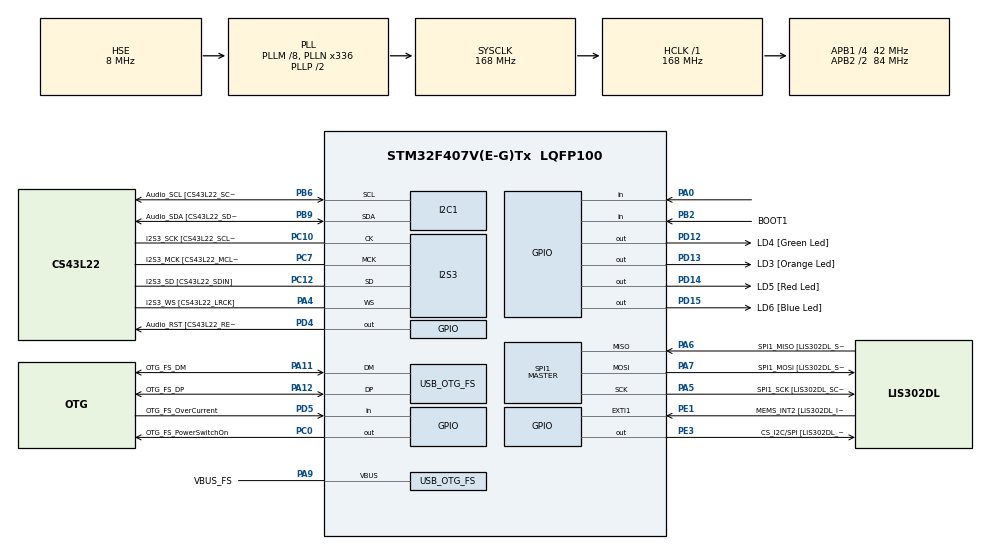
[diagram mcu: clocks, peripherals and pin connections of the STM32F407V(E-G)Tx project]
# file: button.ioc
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I2S3.AudioFreq-Half_Duplex_Master=I2S_AUDIOFREQ_96K
I2S3.ErrorAudioFreq=-2.34 %
I2S3.ErrorAudioFreq-Half_Duplex_Master=0.8 %
I2S3.FullDuplexMode=I2S_FULLDUPLEXMODE_DISABLE
I2S3.Instance=SPI$Index
I2S3.RealAudioFreq=93.75 KHz
I2S3.RealAudioFreq-Half_Duplex_Master=96.774 KHz
I2S3.VirtualMode=I2S_MODE_MASTER
Mcu.Family=STM32F4
Mcu.Name=STM32F407V(E-G)Tx
Mcu.Package=LQFP100
NVIC.OTG_FS_IRQn=true\:0\:0\:false\:false\:true\:true\:true\:true
NVIC.PriorityGroup=NVIC_PRIORITYGROUP_0
PA0-WKUP.Signal=GPIO_Input
PA10.GPIO_Label=OTG_FS_ID
PA10.GPIO_Mode=GPIO_MODE_AF_PP
PA10.GPIO_PuPd=GPIO_NOPULL
PA10.GPIO_Speed=GPIO_SPEED_FREQ_LOW
PA10.Signal=USB_OTG_FS_ID
PA11.GPIO_Label=OTG_FS_DM
PA11.GPIO_Mode=GPIO_MODE_AF_PP
PA11.GPIO_PuPd=GPIO_NOPULL
PA11.GPIO_Speed=GPIO_SPEED_FREQ_LOW
PA11.Mode=Host_Only
PA11.Signal=USB_OTG_FS_DM
PA12.GPIO_Label=OTG_FS_DP
PA12.GPIO_Mode=GPIO_MODE_AF_PP
PA12.GPIO_PuPd=GPIO_NOPULL
PA12.GPIO_Speed=GPIO_SPEED_FREQ_LOW
PA12.Mode=Host_Only
PA12.Signal=USB_OTG_FS_DP
PA13.GPIO_Label=SWDIO
PA13.Mode=Serial_Wire
PA13.Signal=SYS_JTMS-SWDIO
PA14.GPIO_Label=SWCLK
PA14.Mode=Serial_Wire
PA14.Signal=SYS_JTCK-SWCLK
PA4.GPIO_Label=I2S3_WS [CS43L22_LRCK]
PA4.GPIO_Mode=GPIO_MODE_AF_PP
PA4.GPIO_PuPd=GPIO_NOPULL
PA4.GPIO_Speed=GPIO_SPEED_FREQ_LOW
PA4.Mode=Half_Duplex_Master
PA4.Signal=I2S3_WS
PA5.GPIO_Label=SPI1_SCK [LIS302DL_SCL/SPC]
PA5.GPIO_Mode=GPIO_MODE_AF_PP
PA5.GPIO_PuPd=GPIO_NOPULL
PA5.GPIO_Speed=GPIO_SPEED_FREQ_LOW
PA5.Mode=Full_Duplex_Master
PA5.Signal=SPI1_SCK
PA6.GPIO_Label=SPI1_MISO [LIS302DL_SDO]
PA6.GPIO_Mode=GPIO_MODE_AF_PP
PA6.GPIO_PuPd=GPIO_NOPULL
PA6.GPIO_Speed=GPIO_SPEED_FREQ_LOW
PA6.Mode=Full_Duplex_Master
PA6.Signal=SPI1_MISO
PA7.GPIO_Label=SPI1_MOSI [LIS302DL_SDA/SDI/SDO]
PA7.GPIO_Mode=GPIO_MODE_AF_PP
PA7.GPIO_PuPd=GPIO_NOPULL
PA7.GPIO_Speed=GPIO_SPEED_FREQ_LOW
PA7.Mode=Full_Duplex_Master
PA7.Signal=SPI1_MOSI
PA9.GPIO_Label=VBUS_FS
PA9.GPIO_Mode=GPIO_MODE_INPUT
PA9.GPIO_PuPd=GPIO_NOPULL
PA9.Mode=Activate_VBUS
PA9.Signal=USB_OTG_FS_VBUS
PB10.GPIO_Label=CLK_IN [MP45DT02_CLK]
PB10.GPIO_Mode=GPIO_MODE_AF_PP
PB10.GPIO_PuPd=GPIO_NOPULL
PB10.GPIO_Speed=GPIO_SPEED_FREQ_LOW
PB10.Signal=I2S2_CK
PB2.GPIO_Label=BOOT1
PB2.GPIO_Mode=GPIO_MODE_INPUT
PB2.GPIO_PuPd=GPIO_NOPULL
PB2.Signal=GPIO_Input
PB3.GPIO_Label=SWO
PB3.Signal=SYS_JTDO-SWO
PB6.GPIO_Label=Audio_SCL [CS43L22_SCL]
PB6.GPIO_Mode=GPIO_MODE_AF_OD
PB6.GPIO_Pu=GPIO_PULLUP
PB6.GPIO_PuPd=GPIO_NOPULL
PB6.GPIO_Speed=GPIO_SPEED_FREQ_LOW
PB6.Mode=I2C
PB6.Signal=I2C1_SCL
PB9.GPIO_Label=Audio_SDA [CS43L22_SDA]
PB9.GPIO_Mode=GPIO_MODE_AF_OD
PB9.GPIO_Pu=GPIO_PULLUP
PB9.GPIO_PuPd=GPIO_NOPULL
PB9.GPIO_Speed=GPIO_SPEED_FREQ_LOW
PB9.Mode=I2C
PB9.Signal=I2C1_SDA
PC0.GPIO_Label=OTG_FS_PowerSwitchOn
PC0.GPIO_PuPd=GPIO_NOPULL
PC0.GPIO_Speed=GPIO_SPEED_FREQ_LOW
PC0.PinState=GPIO_PIN_SET
PC0.Signal=GPIO_Output
PC10.GPIO_Label=I2S3_SCK [CS43L22_SCLK]
PC10.GPIO_Mode=GPIO_MODE_AF_PP
PC10.GPIO_PuPd=GPIO_NOPULL
PC10.GPIO_Speed=GPIO_SPEED_FREQ_LOW
PC10.Mode=Half_Duplex_Master
PC10.Signal=I2S3_CK
PC12.GPIO_Label=I2S3_SD [CS43L22_SDIN]
PC12.GPIO_Mode=GPIO_MODE_AF_PP
PC12.GPIO_PuPd=GPIO_NOPULL
PC12.GPIO_Speed=GPIO_SPEED_FREQ_LOW
PC12.Mode=Half_Duplex_Master
PC12.Signal=I2S3_SD
PC14-OSC32_IN.GPIO_Label=PC14-OSC32_IN
PC14-OSC32_IN.Mode=LSE-External-Oscillator
PC14-OSC32_IN.Signal=RCC_OSC32_IN
PC15-OSC32_OUT.GPIO_Label=PC15-OSC32_OUT
PC15-OSC32_OUT.Mode=LSE-External-Oscillator
PC15-OSC32_OUT.Signal=RCC_OSC32_OUT
PC3.GPIO_Label=PDM_OUT [MP45DT02_DOUT]
PC3.GPIO_Mode=GPIO_MODE_AF_PP
PC3.GPIO_PuPd=GPIO_NOPULL
PC3.GPIO_Speed=GPIO_SPEED_FREQ_LOW
PC3.Signal=I2S2_SD
PC7.GPIO_Label=I2S3_MCK [CS43L22_MCLK]
PC7.GPIO_Mode=GPIO_MODE_AF_PP
PC7.GPIO_PuPd=GPIO_NOPULL
PC7.GPIO_Speed=GPIO_SPEED_FREQ_LOW
PC7.Mode=Master_Clock_Activated
PC7.Signal=I2S3_MCK
PD12.GPIO_Label=LD4 [Green Led]
PD12.GPIO_PuPd=GPIO_NOPULL
PD12.GPIO_Speed=GPIO_SPEED_FREQ_LOW
PD12.Signal=GPIO_Output
PD13.GPIO_Label=LD3 [Orange Led]
PD13.GPIO_PuPd=GPIO_NOPULL
PD13.GPIO_Speed=GPIO_SPEED_FREQ_LOW
PD13.Signal=GPIO_Output
PD14.GPIO_Label=LD5 [Red Led]
PD14.GPIO_PuPd=GPIO_NOPULL
PD14.GPIO_Speed=GPIO_SPEED_FREQ_LOW
PD14.Signal=GPIO_Output
PD15.GPIO_Label=LD6 [Blue Led]
PD15.GPIO_PuPd=GPIO_NOPULL
PD15.GPIO_Speed=GPIO_SPEED_FREQ_LOW
PD15.Signal=GPIO_Output
PD4.GPIO_Label=Audio_RST [CS43L22_RESET]
PD4.GPIO_PuPd=GPIO_NOPULL
PD4.GPIO_Speed=GPIO_SPEED_FREQ_LOW
PD4.Signal=GPIO_Output
PD5.GPIO_Label=OTG_FS_OverCurrent
PD5.GPIO_Mode=GPIO_MODE_INPUT
PD5.GPIO_PuPd=GPIO_NOPULL
PD5.Signal=GPIO_Input
PE1.GPIO_Label=MEMS_INT2 [LIS302DL_INT2]
PE1.GPIO_ModeDefaultEXTI=GPIO_MODE_EVT_RISING
PE1.GPIO_PuPd=GPIO_NOPULL
PE1.Signal=GPXTI1
PE3.GPIO_Label=CS_I2C/SPI [LIS302DL_CS_I2C/SPI]
PE3.GPIO_PuPd=GPIO_NOPULL
PE3.GPIO_Speed=GPIO_SPEED_FREQ_LOW
PE3.Signal=GPIO_Output
PH0-OSC_IN.GPIO_Label=PH0-OSC_IN
PH0-OSC_IN.Mode=HSE-External-Oscillator
PH0-OSC_IN.Signal=RCC_OSC_IN
PH1-OSC_OUT.GPIO_Label=PH1-OSC_OUT
PH1-OSC_OUT.Mode=HSE-External-Oscillator
PH1-OSC_OUT.Signal=RCC_OSC_OUT
ProjectManager.HeapSize=0x200
ProjectManager.StackSize=0x400
ProjectManager.TargetToolchain=STM32CubeIDE
RCC.48MHZClocksFreq_Value=48000000
RCC.AHBFreq_Value=168000000
RCC.APB1CLKDivider=RCC_HCLK_DIV4
RCC.APB1Freq_Value=42000000
RCC.APB1TimFreq_Value=84000000
RCC.APB2CLKDivider=RCC_HCLK_DIV2
RCC.APB2Freq_Value=84000000
RCC.APB2TimFreq_Value=168000000
RCC.CortexFreq_Value=168000000
RCC.HCLKFreq_Value=168000000
RCC.HSE_VALUE=8000000
RCC.HSI_VALUE=16000000
RCC.PLLM=8
RCC.PLLN=336
RCC.PLLQ=7
RCC.SYSCLKFreq_VALUE=168000000
RCC.SYSCLKSource=RCC_SYSCLKSOURCE_PLLCLK
RCC.VCOOutputFreq_Value=336000000
SPI1.BaudRatePrescaler-Full_Duplex_Master=SPI_BAUDRATEPRESCALER_2
SPI1.CalculateBaudRate-Full_Duplex_Master=42.0 MBits/s
SPI1.Direction=SPI_DIRECTION_2LINES
SPI1.Mode=SPI_MODE_MASTER
SPI1.Mode-Full_Duplex_Master=SPI_MODE_MASTER
SPI1.VirtualType=VM_MASTER
USB_HOST.BSP.number=1
USB_HOST.USBH_HandleTypeDef-CDC_FS=hUsbHostFS
USB_HOST.VirtualModeFS=Cdc
USB_HOST0.BSP.STBoard=false
USB_HOST0.BSP.api=Unknown
USB_HOST0.BSP.instance=PC0
USB_HOST0.BSP.ip=GPIO
USB_HOST0.BSP.mode=Output
USB_HOST0.BSP.name=Drive_VBUS_FS
USB_HOST0.BSP.solution=PC0
USB_OTG_FS.VirtualMode=Host_Only
USB_OTG_FS.phy_itface=HCD_PHY_EMBEDDED
VP_USB_HOST_VS_USB_HOST_CDC_FS.Mode=CDC_FS
board=STM32F407G-DISC1

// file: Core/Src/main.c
/* USER CODE BEGIN Header */
/**
  ******************************************************************************
  * @file           : main.c
  * @brief          : Main program body
  ******************************************************************************
  * @attention
  *
  * Copyright (c) 2025 STMicroelectronics.
  * All rights reserved.
  *
  * This software is licensed under terms that can be found in the LICENSE file
  * in the root directory of this software component.
  * If no LICENSE file comes with this software, it is provided AS-IS.
  *
  ******************************************************************************
  */
/* USER CODE END Header */
#include "main.h"
#include "usb_host.h"

I2C_HandleTypeDef hi2c1;

I2S_HandleTypeDef hi2s3;

SPI_HandleTypeDef hspi1;

void SystemClock_Config(void);
static void MX_GPIO_Init(void);
static void MX_I2C1_Init(void);
static void MX_I2S3_Init(void);
static void MX_SPI1_Init(void);
void MX_USB_HOST_Process(void);

int main(void)
{

  /* MCU Configuration--------------------------------------------------------*/

  /* Reset of all peripherals, Initializes the Flash interface and the Systick. */
  HAL_Init();

  /* Configure the system clock */
  SystemClock_Config();

  /* Initialize all configured peripherals */
  MX_GPIO_Init();
  MX_I2C1_Init();
  MX_I2S3_Init();
  MX_SPI1_Init();
  MX_USB_HOST_Init();

  /* Infinite loop */
	while (1) {
    MX_USB_HOST_Process();

    /* USER CODE BEGIN 3 */
		/*    HAL_GPIO_WritePin(LD4_GPIO_Port, LD4_Pin, 1);*/

		/*HAL_GPIO_TogglePin(LD3_GPIO_Port, LD3_Pin);
		 HAL_Delay(1000);*/

		/*if (HAL_GPIO_ReadPin(GPIOA, GPIO_PIN_0)) {
			HAL_GPIO_WritePin(LD4_GPIO_Port, LD4_Pin, 1);
			HAL_Delay(1000);
		} else {
			HAL_GPIO_WritePin(LD4_GPIO_Port, LD4_Pin, GPIO_PIN_RESET);
		}
*/

    /*if(HAL_GPIO_ReadPin(GPIOA, GPIO_PIN_0) == GPIO_PIN_SET) {
      // Button is pressed - cycle through LEDs
      HAL_GPIO_WritePin(LD3_GPIO_Port, LD3_Pin, GPIO_PIN_SET);
      HAL_Delay(200);
      HAL_GPIO_WritePin(LD3_GPIO_Port, LD3_Pin, GPIO_PIN_RESET);

      HAL_GPIO_WritePin(LD4_GPIO_Port, LD4_Pin, GPIO_PIN_SET);
      HAL_Delay(200);
      HAL_GPIO_WritePin(LD4_GPIO_Port, LD4_Pin, GPIO_PIN_RESET);

      HAL_GPIO_WritePin(LD5_GPIO_Port, LD5_Pin, GPIO_PIN_SET);
      HAL_Delay(200);
      HAL_GPIO_WritePin(LD5_GPIO_Port, LD5_Pin, GPIO_PIN_RESET);

      HAL_GPIO_WritePin(LD6_GPIO_Port, LD6_Pin, GPIO_PIN_SET);
      HAL_Delay(200);
      HAL_GPIO_WritePin(LD6_GPIO_Port, LD6_Pin, GPIO_PIN_RESET);
    } else {
      // Button is not pressed - all LEDs off
      HAL_GPIO_WritePin(LD3_GPIO_Port, LD3_Pin, GPIO_PIN_RESET);
      HAL_GPIO_WritePin(LD4_GPIO_Port, LD4_Pin, GPIO_PIN_RESET);
      HAL_GPIO_WritePin(LD5_GPIO_Port, LD5_Pin, GPIO_PIN_RESET);
      HAL_GPIO_WritePin(LD6_GPIO_Port, LD6_Pin, GPIO_PIN_RESET);
    }*/

    static uint8_t led_state = 0;
      static uint32_t last_button_time = 0;
      static uint8_t button_pressed = 0;
      uint32_t current_time = HAL_GetTick();

      // Button debounce with state detection
      if (HAL_GPIO_ReadPin(GPIOA, GPIO_PIN_0) == GPIO_PIN_SET) {
        if (!button_pressed && (current_time - last_button_time > 200)) {
          button_pressed = 1;
          last_button_time = current_time;

          // Change LED state on button press
          led_state = (led_state + 1) % 5;  // 5 states: off, and 4 LED patterns
        }
      } else {
        button_pressed = 0;
      }

      // Turn off all LEDs first
      HAL_GPIO_WritePin(GPIOD, LD3_Pin | LD4_Pin | LD5_Pin | LD6_Pin, GPIO_PIN_RESET);

      // Different LED patterns based on state
      switch (led_state) {
        case 0: // All LEDs off
          break;

        case 1: // Rotating single LED
          {
            uint8_t pattern = (current_time / 200) % 4;
            if (pattern == 0) HAL_GPIO_WritePin(LD3_GPIO_Port, LD3_Pin, GPIO_PIN_SET);
            else if (pattern == 1) HAL_GPIO_WritePin(LD4_GPIO_Port, LD4_Pin, GPIO_PIN_SET);
            else if (pattern == 2) HAL_GPIO_WritePin(LD5_GPIO_Port, LD5_Pin, GPIO_PIN_SET);
            else HAL_GPIO_WritePin(LD6_GPIO_Port, LD6_Pin, GPIO_PIN_SET);
          }
          break;

        case 2: // Breathing effect (all LEDs)
          {
            uint32_t breathe_val = (current_time % 2000);
            if (breathe_val > 1000) breathe_val = 2000 - breathe_val;

            // Create breathing effect with PWM-like timing
            if ((current_time % 20) < (breathe_val / 50)) {
              HAL_GPIO_WritePin(GPIOD, LD3_Pin | LD4_Pin | LD5_Pin | LD6_Pin, GPIO_PIN_SET);
            }
          }
          break;

        case 3: // Knight Rider/cylon effect
          {
            uint8_t position = (current_time / 100) % 6;
            if (position == 0) HAL_GPIO_WritePin(LD3_GPIO_Port, LD3_Pin, GPIO_PIN_SET);
            else if (position == 1) HAL_GPIO_WritePin(LD4_GPIO_Port, LD4_Pin, GPIO_PIN_SET);
            else if (position == 2) HAL_GPIO_WritePin(LD5_GPIO_Port, LD5_Pin, GPIO_PIN_SET);
            else if (position == 3) HAL_GPIO_WritePin(LD6_GPIO_Port, LD6_Pin, GPIO_PIN_SET);
            else if (position == 4) HAL_GPIO_WritePin(LD5_GPIO_Port, LD5_Pin, GPIO_PIN_SET);
            else if (position == 5) HAL_GPIO_WritePin(LD4_GPIO_Port, LD4_Pin, GPIO_PIN_SET);
          }
          break;

        case 4: // All LEDs flashing
          if ((current_time / 300) % 2) {
            HAL_GPIO_WritePin(GPIOD, LD3_Pin | LD4_Pin | LD5_Pin | LD6_Pin, GPIO_PIN_SET);
          }
          break;
      }
  }
  /* USER CODE END 3 */
}

void SystemClock_Config(void)
{
  RCC_OscInitTypeDef RCC_OscInitStruct = {0};
  RCC_ClkInitTypeDef RCC_ClkInitStruct = {0};

  /** Configure the main internal regulator output voltage
  */
  __HAL_RCC_PWR_CLK_ENABLE();
  __HAL_PWR_VOLTAGESCALING_CONFIG(PWR_REGULATOR_VOLTAGE_SCALE1);

  /** Initializes the RCC Oscillators according to the specified parameters
  * in the RCC_OscInitTypeDef structure.
  */
  RCC_OscInitStruct.OscillatorType = RCC_OSCILLATORTYPE_HSE;
  RCC_OscInitStruct.HSEState = RCC_HSE_ON;
  RCC_OscInitStruct.PLL.PLLState = RCC_PLL_ON;
  RCC_OscInitStruct.PLL.PLLSource = RCC_PLLSOURCE_HSE;
  RCC_OscInitStruct.PLL.PLLM = 8;
  RCC_OscInitStruct.PLL.PLLN = 336;
  RCC_OscInitStruct.PLL.PLLP = RCC_PLLP_DIV2;
  RCC_OscInitStruct.PLL.PLLQ = 7;
  if (HAL_RCC_OscConfig(&RCC_OscInitStruct) != HAL_OK)
  {
    Error_Handler();
  }

  /** Initializes the CPU, AHB and APB buses clocks
  */
  RCC_ClkInitStruct.ClockType = RCC_CLOCKTYPE_HCLK|RCC_CLOCKTYPE_SYSCLK
                              |RCC_CLOCKTYPE_PCLK1|RCC_CLOCKTYPE_PCLK2;
  RCC_ClkInitStruct.SYSCLKSource = RCC_SYSCLKSOURCE_PLLCLK;
  RCC_ClkInitStruct.AHBCLKDivider = RCC_SYSCLK_DIV1;
  RCC_ClkInitStruct.APB1CLKDivider = RCC_HCLK_DIV4;
  RCC_ClkInitStruct.APB2CLKDivider = RCC_HCLK_DIV2;

  if (HAL_RCC_ClockConfig(&RCC_ClkInitStruct, FLASH_LATENCY_5) != HAL_OK)
  {
    Error_Handler();
  }
}

static void MX_I2C1_Init(void)
{

  hi2c1.Instance = I2C1;
  hi2c1.Init.ClockSpeed = 100000;
  hi2c1.Init.DutyCycle = I2C_DUTYCYCLE_2;
  hi2c1.Init.OwnAddress1 = 0;
  hi2c1.Init.AddressingMode = I2C_ADDRESSINGMODE_7BIT;
  hi2c1.Init.DualAddressMode = I2C_DUALADDRESS_DISABLE;
  hi2c1.Init.OwnAddress2 = 0;
  hi2c1.Init.GeneralCallMode = I2C_GENERALCALL_DISABLE;
  hi2c1.Init.NoStretchMode = I2C_NOSTRETCH_DISABLE;
  if (HAL_I2C_Init(&hi2c1) != HAL_OK)
  {
    Error_Handler();
  }

}

static void MX_I2S3_Init(void)
{

  hi2s3.Instance = SPI3;
  hi2s3.Init.Mode = I2S_MODE_MASTER_TX;
  hi2s3.Init.Standard = I2S_STANDARD_PHILIPS;
  hi2s3.Init.DataFormat = I2S_DATAFORMAT_16B;
  hi2s3.Init.MCLKOutput = I2S_MCLKOUTPUT_ENABLE;
  hi2s3.Init.AudioFreq = I2S_AUDIOFREQ_96K;
  hi2s3.Init.CPOL = I2S_CPOL_LOW;
  hi2s3.Init.ClockSource = I2S_CLOCK_PLL;
  hi2s3.Init.FullDuplexMode = I2S_FULLDUPLEXMODE_DISABLE;
  if (HAL_I2S_Init(&hi2s3) != HAL_OK)
  {
    Error_Handler();
  }

}

static void MX_SPI1_Init(void)
{

  /* SPI1 parameter configuration*/
  hspi1.Instance = SPI1;
  hspi1.Init.Mode = SPI_MODE_MASTER;
  hspi1.Init.Direction = SPI_DIRECTION_2LINES;
  hspi1.Init.DataSize = SPI_DATASIZE_8BIT;
  hspi1.Init.CLKPolarity = SPI_POLARITY_LOW;
  hspi1.Init.CLKPhase = SPI_PHASE_1EDGE;
  hspi1.Init.NSS = SPI_NSS_SOFT;
  hspi1.Init.BaudRatePrescaler = SPI_BAUDRATEPRESCALER_2;
  hspi1.Init.FirstBit = SPI_FIRSTBIT_MSB;
  hspi1.Init.TIMode = SPI_TIMODE_DISABLE;
  hspi1.Init.CRCCalculation = SPI_CRCCALCULATION_DISABLE;
  hspi1.Init.CRCPolynomial = 10;
  if (HAL_SPI_Init(&hspi1) != HAL_OK)
  {
    Error_Handler();
  }

}

static void MX_GPIO_Init(void)
{
  GPIO_InitTypeDef GPIO_InitStruct = {0};

  /* GPIO Ports Clock Enable */
  __HAL_RCC_GPIOE_CLK_ENABLE();
  __HAL_RCC_GPIOC_CLK_ENABLE();
  __HAL_RCC_GPIOH_CLK_ENABLE();
  __HAL_RCC_GPIOA_CLK_ENABLE();
  __HAL_RCC_GPIOB_CLK_ENABLE();
  __HAL_RCC_GPIOD_CLK_ENABLE();

  /*Configure GPIO pin Output Level */
  HAL_GPIO_WritePin(CS_I2C_SPI_GPIO_Port, CS_I2C_SPI_Pin, GPIO_PIN_RESET);

  /*Configure GPIO pin Output Level */
  HAL_GPIO_WritePin(OTG_FS_PowerSwitchOn_GPIO_Port, OTG_FS_PowerSwitchOn_Pin, GPIO_PIN_SET);

  /*Configure GPIO pin Output Level */
  HAL_GPIO_WritePin(GPIOD, LD4_Pin|LD3_Pin|LD5_Pin|LD6_Pin
                          |Audio_RST_Pin, GPIO_PIN_RESET);

  /*Configure GPIO pin : CS_I2C_SPI_Pin */
  GPIO_InitStruct.Pin = CS_I2C_SPI_Pin;
  GPIO_InitStruct.Mode = GPIO_MODE_OUTPUT_PP;
  GPIO_InitStruct.Pull = GPIO_NOPULL;
  GPIO_InitStruct.Speed = GPIO_SPEED_FREQ_LOW;
  HAL_GPIO_Init(CS_I2C_SPI_GPIO_Port, &GPIO_InitStruct);

  /*Configure GPIO pin : OTG_FS_PowerSwitchOn_Pin */
  GPIO_InitStruct.Pin = OTG_FS_PowerSwitchOn_Pin;
  GPIO_InitStruct.Mode = GPIO_MODE_OUTPUT_PP;
  GPIO_InitStruct.Pull = GPIO_NOPULL;
  GPIO_InitStruct.Speed = GPIO_SPEED_FREQ_LOW;
  HAL_GPIO_Init(OTG_FS_PowerSwitchOn_GPIO_Port, &GPIO_InitStruct);

  /*Configure GPIO pin : PDM_OUT_Pin */
  GPIO_InitStruct.Pin = PDM_OUT_Pin;
  GPIO_InitStruct.Mode = GPIO_MODE_AF_PP;
  GPIO_InitStruct.Pull = GPIO_NOPULL;
  GPIO_InitStruct.Speed = GPIO_SPEED_FREQ_LOW;
  GPIO_InitStruct.Alternate = GPIO_AF5_SPI2;
  HAL_GPIO_Init(PDM_OUT_GPIO_Port, &GPIO_InitStruct);

  /*Configure GPIO pin : PA0 */
  GPIO_InitStruct.Pin = GPIO_PIN_0;
  GPIO_InitStruct.Mode = GPIO_MODE_INPUT;
  GPIO_InitStruct.Pull = GPIO_NOPULL;
  HAL_GPIO_Init(GPIOA, &GPIO_InitStruct);

  /*Configure GPIO pin : BOOT1_Pin */
  GPIO_InitStruct.Pin = BOOT1_Pin;
  GPIO_InitStruct.Mode = GPIO_MODE_INPUT;
  GPIO_InitStruct.Pull = GPIO_NOPULL;
  HAL_GPIO_Init(BOOT1_GPIO_Port, &GPIO_InitStruct);

  /*Configure GPIO pin : CLK_IN_Pin */
  GPIO_InitStruct.Pin = CLK_IN_Pin;
  GPIO_InitStruct.Mode = GPIO_MODE_AF_PP;
  GPIO_InitStruct.Pull = GPIO_NOPULL;
  GPIO_InitStruct.Speed = GPIO_SPEED_FREQ_LOW;
  GPIO_InitStruct.Alternate = GPIO_AF5_SPI2;
  HAL_GPIO_Init(CLK_IN_GPIO_Port, &GPIO_InitStruct);

  /*Configure GPIO pins : LD4_Pin LD3_Pin LD5_Pin LD6_Pin
                           Audio_RST_Pin */
  GPIO_InitStruct.Pin = LD4_Pin|LD3_Pin|LD5_Pin|LD6_Pin
                          |Audio_RST_Pin;
  GPIO_InitStruct.Mode = GPIO_MODE_OUTPUT_PP;
  GPIO_InitStruct.Pull = GPIO_NOPULL;
  GPIO_InitStruct.Speed = GPIO_SPEED_FREQ_LOW;
  HAL_GPIO_Init(GPIOD, &GPIO_InitStruct);

  /*Configure GPIO pin : OTG_FS_OverCurrent_Pin */
  GPIO_InitStruct.Pin = OTG_FS_OverCurrent_Pin;
  GPIO_InitStruct.Mode = GPIO_MODE_INPUT;
  GPIO_InitStruct.Pull = GPIO_NOPULL;
  HAL_GPIO_Init(OTG_FS_OverCurrent_GPIO_Port, &GPIO_InitStruct);

  /*Configure GPIO pin : MEMS_INT2_Pin */
  GPIO_InitStruct.Pin = MEMS_INT2_Pin;
  GPIO_InitStruct.Mode = GPIO_MODE_EVT_RISING;
  GPIO_InitStruct.Pull = GPIO_NOPULL;
  HAL_GPIO_Init(MEMS_INT2_GPIO_Port, &GPIO_InitStruct);

}

void Error_Handler(void)
{
  __disable_irq();
  while (1)
  {
  }
}
